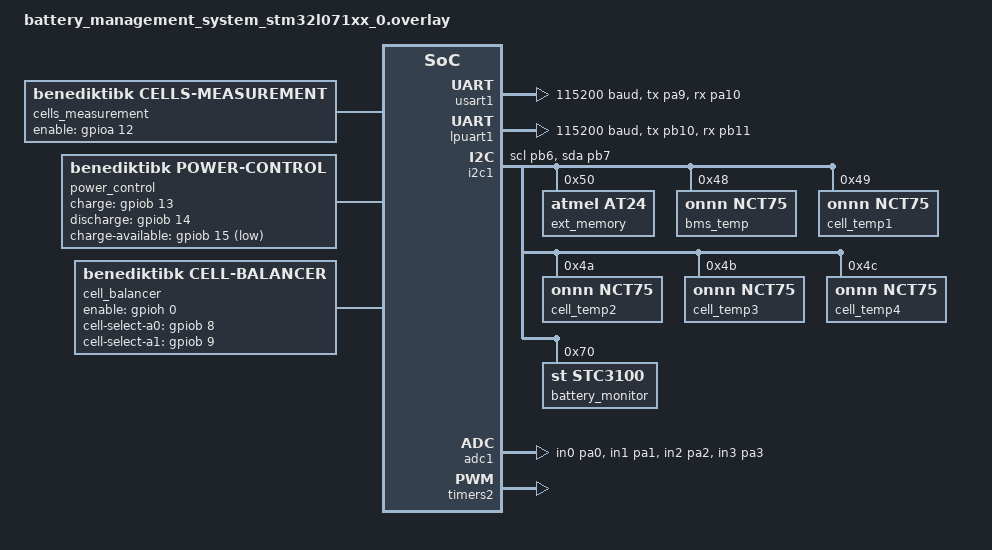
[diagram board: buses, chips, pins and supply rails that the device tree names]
/ {
	chosen {
		zephyr,sram = &sram0;
		zephyr,flash = &flash0;
		zephyr,console = &usart1;
		zephyr,shell-uart = &usart1;
	};

	status_leds: status_leds {
		compatible = "benediktibk,status-leds";
		status = "okay";
		system-active-gpios = <&gpioc 15 GPIO_ACTIVE_HIGH>;
		error-gpios = <&gpioc 14 GPIO_ACTIVE_HIGH>;
		debug-gpios = <&gpioc 13 GPIO_ACTIVE_HIGH>;
	};

	cell_voltage1: cell_voltage1 {
		compatible = "benediktibk,cell-voltage";
		status = "okay";
		adc = <&adc1>;
		adc-channel = <0>;
		voltage-divider-upper = <24>;
		voltage-divider-lower = <100>;
	};

	cell_voltage2: cell_voltage2 {
		compatible = "benediktibk,cell-voltage";
		status = "okay";
		adc = <&adc1>;
		adc-channel = <1>;
		voltage-divider-upper = <100>;
		voltage-divider-lower = <68>;
	};

	cell_voltage3: cell_voltage3 {
		compatible = "benediktibk,cell-voltage";
		status = "okay";
		adc = <&adc1>;
		adc-channel = <2>;
		voltage-divider-upper = <100>;
		voltage-divider-lower = <36>;
	};

	cell_voltage4: cell_voltage4 {
		compatible = "benediktibk,cell-voltage";
		status = "okay";
		adc = <&adc1>;
		adc-channel = <3>;
		voltage-divider-upper = <100>;
		voltage-divider-lower = <24>;
	};

	cells_measurement: cells_measurement {
		compatible = "benediktibk,cells-measurement";
		status = "okay";
		cell-voltages = <&cell_voltage1>,
						<&cell_voltage2>,
						<&cell_voltage3>,
						<&cell_voltage4>;
		enable-gpios = <&gpioa 12 GPIO_ACTIVE_HIGH>;
	};

	power_control: power_control {
		compatible = "benediktibk,power-control";
		status = "okay";
		charge-gpios = <&gpiob 13 GPIO_ACTIVE_HIGH>;
		discharge-gpios = <&gpiob 14 GPIO_ACTIVE_HIGH>;
		charge-available-gpios = <&gpiob 15 GPIO_ACTIVE_LOW>;
	};

	cell_balancer: cell_balancer {
		compatible = "benediktibk,cell-balancer";
		status = "okay";
		enable-gpios = <&gpioh 0 GPIO_ACTIVE_HIGH>;
		cell-select-a0-gpios = <&gpiob 8 GPIO_ACTIVE_HIGH>;
		cell-select-a1-gpios = <&gpiob 9 GPIO_ACTIVE_HIGH>;
		pwm = <&cell_balancer_pwm>;
		pwm-channel = <0>;
	};
};

&clk_hsi {
	status = "okay";
	clock-frequency = <DT_FREQ_M(16)>;
};

&pll {
	status = "okay";
	div = <2>;
	mul = <4>;
	clocks = <&clk_hsi>;
};

&rcc {
	clocks = <&pll>;
	clock-frequency = <DT_FREQ_M(32)>;
	ahb-prescaler = <1>;
	apb1-prescaler = <1>;
	apb2-prescaler = <1>;
};

&usart1 {
	status = "okay";
	pinctrl-0 = <&usart1_tx_pa9>,
				<&usart1_rx_pa10>;
	pinctrl-names = "default";
	current-speed = <115200>;
};

&lpuart1 {
	status = "okay";
	pinctrl-0 = <&lpuart1_tx_pb10>,
				<&lpuart1_rx_pb11>;
	pinctrl-names = "default";
	current-speed = <115200>;
};

&i2c1 {
	status = "okay";
	pinctrl-0 = <&i2c1_scl_pb6>,
				<&i2c1_sda_pb7>;
	pinctrl-names = "default";

	ext_memory: ext_memory@50 {
		compatible = "atmel,at24";
		reg = <0x50>;
		status = "okay";
		size = <65536>;
		pagesize = <128>;
		address-width = <16>;
		timeout = <5>;
	};

	bms_temp: bms_temp@48 {
		compatible = "onnn,nct75";
		reg = <0x48>;
		status = "okay";
	};

	cell_temp1: cell_temp1@49 {
		compatible = "onnn,nct75";
		reg = <0x49>;
		status = "okay";
	};

	cell_temp2: cell_temp2@4a {
		compatible = "onnn,nct75";
		reg = <0x4a>;
		status = "okay";
	};

	cell_temp3: cell_temp3@4b {
		compatible = "onnn,nct75";
		reg = <0x4b>;
		status = "okay";
	};

	cell_temp4: cell_temp4@4c {
		compatible = "onnn,nct75";
		reg = <0x4c>;
		status = "okay";
	};

	battery_monitor: battery_monitor@70 {
		compatible = "st,stc3100";
		reg = <0x70>;
		status = "okay";
		sense-resistor = <2>;
		nominal-capacity = <88000>;
	};
};

&flash0 {
	reg = <0x8000000 0x30000>;
	partitions {
		compatible = "fixed-partitions";
		#address-cells = <0x1>;
		#size-cells = <0x1>;

		main_partition: main_partition@0 {
			label = "main";
			reg = <0x0 0x30000>;
			read-only;
		};
	};
};

&sram0 {
	reg = <0x20000000 0x1800>;
};

&adc1 {
	status = "okay";
	pinctrl-0 = <&adc_in0_pa0>,
				<&adc_in1_pa1>,
				<&adc_in2_pa2>,
				<&adc_in3_pa3>;
	pinctrl-names = "default";
	#address-cells = <1>;
	#size-cells = <0>;
	st,adc-clock-source = <SYNC>;
	st,adc-prescaler = <1>;
};

&timers2 {
	status = "okay";
	st,prescaler = <0>;
	cell_balancer_pwm: pwm {
		status = "okay";
		pinctrl-0 = <&tim2_ch1_pa15>;
		pinctrl-names = "default";
	};
};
